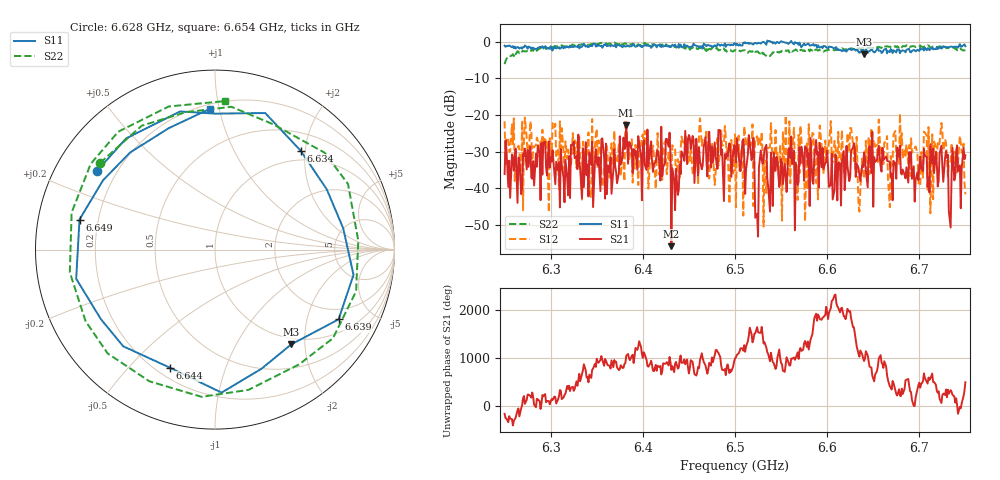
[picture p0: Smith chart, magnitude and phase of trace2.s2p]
# Hz S RI R 50
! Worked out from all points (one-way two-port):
!   401 points, 6.25 GHz to 6.75 GHz, reference 50 ohm
!   highest |S21| = -22.76 dB at 6.382 GHz (marker M1); lowest = -55.7 dB at 6.431 GHz (marker M2)
!   lowest |S11| = -3.4 dB at 6.64 GHz (marker M3), VSWR 5.21, Z = 44.2 - j86.5 ohm
!   |S11| at or under -10 dB: nowhere
!   |S22| runs from -6.1 to -0.1 dB; largest |S21 - S12| = 0.12
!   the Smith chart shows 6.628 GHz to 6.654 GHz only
!   S11 on the Smith chart (normalised r, x): 6.628 GHz: 0.13, +0.30; 6.634 GHz: 0.81, +1.91; 6.639 GHz: 1.51, -3.13; 6.644 GHz: 0.25, -0.66; 6.649 GHz: 0.13, +0.11; 6.654 GHz: 0.23, +0.94
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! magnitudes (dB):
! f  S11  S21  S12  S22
! 6.25 GHz  -1.0  -36.1  -21.7  -6.1
! 6.334 GHz  -1.3  -42.6  -43.0  -0.6
! 6.382 GHz  -1.3  -22.8  -23.6  -0.6
! 6.418 GHz  -0.9  -33.0  -36.3  -0.8
! 6.431 GHz  -1.2  -55.7  -37.2  -1.5
! 6.451 GHz  -1.5  -26.2  -32.5  -2.2
! 6.5 GHz  -0.4  -28.9  -25.2  -2.4
! 6.518 GHz  -0.5  -32.3  -28.1  -2.7
! 6.524 GHz  -0.5  -46.9  -25.8  -2.6
! 6.531 GHz  0.0  -32.3  -50.4  -3.1
! 6.584 GHz  -0.8  -37.9  -24.8  -2.4
! 6.628 GHz  -2.0  -28.9  -27.7  -1.9
! 6.634 GHz  -2.7  -34.4  -44.6  -1.8
! 6.639 GHz  -2.0  -34.2  -34.5  -1.7
! 6.64 GHz  -3.4  -30.1  -37.4  -2.0
! 6.644 GHz  -3.0  -39.7  -38.0  -1.7
! 6.649 GHz  -2.2  -24.5  -34.8  -1.7
! 6.654 GHz  -2.1  -32.2  -28.1  -1.6
! 6.668 GHz  -2.8  -32.7  -45.1  -1.4
! 6.726 GHz  -1.2  -38.2  -29.7  -1.4
! 6.735 GHz  -1.3  -36.6  -27.6  -1.8
! 6.75 GHz  -1.2  -30.9  -41.6  -2.3
